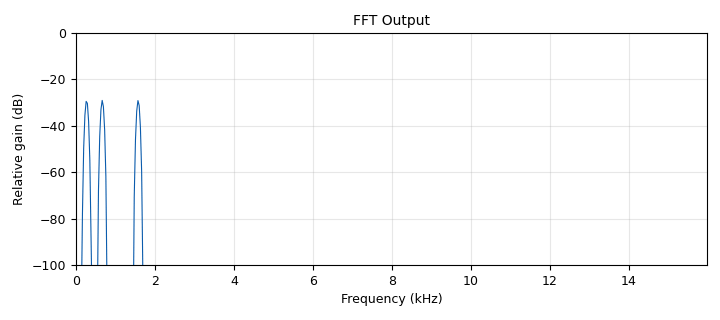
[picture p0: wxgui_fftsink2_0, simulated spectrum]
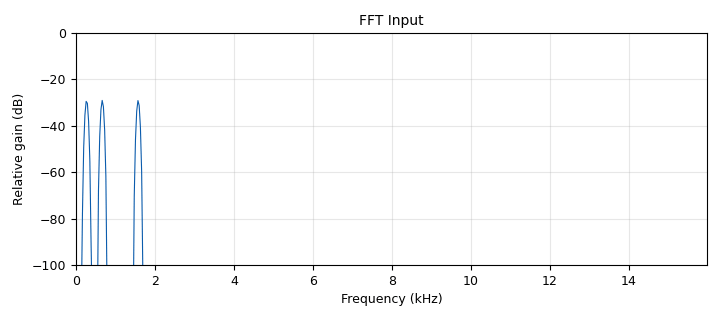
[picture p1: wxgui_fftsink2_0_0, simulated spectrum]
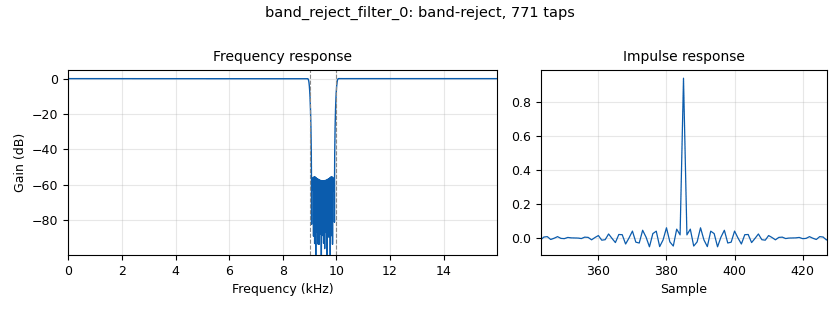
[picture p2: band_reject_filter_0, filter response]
<?xml version='1.0' encoding='utf-8'?>
<?grc format='1' created='3.7.11'?>
<flow_graph>
<block>
<key>options</key>
<param><key>id</key><value>top_block</value></param>
<param><key>generate_options</key><value>wx_gui</value></param>
</block>
<block>
<key>variable_text_box</key>
<param><key>id</key><value>freq</value></param>
<param><key>converver</key><value>float_converter</value></param>
<param><key>value</key><value>500</value></param>
<param><key>formatter</key><value>None</value></param>
<param><key>label</key><value></value></param>
</block>
<block>
<key>variable_text_box</key>
<param><key>id</key><value>high_cutoff</value></param>
<param><key>converver</key><value>float_converter</value></param>
<param><key>value</key><value>10e3</value></param>
<param><key>formatter</key><value>None</value></param>
<param><key>label</key><value></value></param>
</block>
<block>
<key>variable_text_box</key>
<param><key>id</key><value>low_cutoff</value></param>
<param><key>converver</key><value>float_converter</value></param>
<param><key>value</key><value>9e3</value></param>
<param><key>formatter</key><value>None</value></param>
<param><key>label</key><value></value></param>
</block>
<block>
<key>variable</key>
<param><key>id</key><value>samp_rate</value></param>
<param><key>value</key><value>32000</value></param>
</block>
<block>
<key>variable_text_box</key>
<param><key>id</key><value>transition_width</value></param>
<param><key>converver</key><value>float_converter</value></param>
<param><key>value</key><value>100</value></param>
<param><key>formatter</key><value>None</value></param>
<param><key>label</key><value></value></param>
</block>
<block>
<key>analog_sig_source_x</key>
<param><key>id</key><value>analog_sig_source_x_0_1</value></param>
<param><key>amp</key><value>.1</value></param>
<param><key>freq</key><value>261.6</value></param>
<param><key>offset</key><value>0</value></param>
<param><key>type</key><value>float</value></param>
<param><key>samp_rate</key><value>samp_rate</value></param>
<param><key>waveform</key><value>analog.GR_COS_WAVE</value></param>
</block>
<block>
<key>analog_sig_source_x</key>
<param><key>id</key><value>analog_sig_source_x_0_2</value></param>
<param><key>amp</key><value>.1</value></param>
<param><key>freq</key><value>659.2</value></param>
<param><key>offset</key><value>0</value></param>
<param><key>type</key><value>float</value></param>
<param><key>samp_rate</key><value>samp_rate</value></param>
<param><key>waveform</key><value>analog.GR_COS_WAVE</value></param>
</block>
<block>
<key>analog_sig_source_x</key>
<param><key>id</key><value>analog_sig_source_x_0_3</value></param>
<param><key>amp</key><value>.1</value></param>
<param><key>freq</key><value>1568</value></param>
<param><key>offset</key><value>0</value></param>
<param><key>type</key><value>float</value></param>
<param><key>samp_rate</key><value>samp_rate</value></param>
<param><key>waveform</key><value>analog.GR_COS_WAVE</value></param>
</block>
<block>
<key>audio_sink</key>
<param><key>id</key><value>audio_sink_0</value></param>
<param><key>samp_rate</key><value>samp_rate</value></param>
</block>
<block>
<key>band_reject_filter</key>
<param><key>id</key><value>band_reject_filter_0</value></param>
<param><key>decim</key><value>1</value></param>
<param><key>type</key><value>fir_filter_fff</value></param>
<param><key>gain</key><value>1</value></param>
<param><key>high_cutoff_freq</key><value>high_cutoff</value></param>
<param><key>low_cutoff_freq</key><value>low_cutoff</value></param>
<param><key>samp_rate</key><value>samp_rate</value></param>
<param><key>width</key><value>transition_width</value></param>
<param><key>win</key><value>firdes.WIN_HAMMING</value></param>
</block>
<block>
<key>blocks_add_xx</key>
<param><key>id</key><value>blocks_add_xx_0</value></param>
<param><key>type</key><value>float</value></param>
<param><key>num_inputs</key><value>3</value></param>
</block>
<block>
<key>wxgui_fftsink2</key>
<param><key>id</key><value>wxgui_fftsink2_0</value></param>
<param><key>avg_alpha</key><value>0</value></param>
<param><key>average</key><value>False</value></param>
<param><key>baseband_freq</key><value>0</value></param>
<param><key>fft_size</key><value>1024</value></param>
<param><key>freqvar</key><value>None</value></param>
<param><key>peak_hold</key><value>False</value></param>
<param><key>ref_level</key><value>0</value></param>
<param><key>ref_scale</key><value>2.0</value></param>
<param><key>fft_rate</key><value>15</value></param>
<param><key>samp_rate</key><value>samp_rate</value></param>
<param><key>title</key><value>FFT Output</value></param>
<param><key>type</key><value>float</value></param>
<param><key>win</key><value>None</value></param>
<param><key>y_divs</key><value>10</value></param>
<param><key>y_per_div</key><value>10</value></param>
</block>
<block>
<key>wxgui_fftsink2</key>
<param><key>id</key><value>wxgui_fftsink2_0_0</value></param>
<param><key>avg_alpha</key><value>0</value></param>
<param><key>average</key><value>False</value></param>
<param><key>baseband_freq</key><value>0</value></param>
<param><key>fft_size</key><value>1024</value></param>
<param><key>freqvar</key><value>None</value></param>
<param><key>peak_hold</key><value>False</value></param>
<param><key>ref_level</key><value>0</value></param>
<param><key>ref_scale</key><value>2.0</value></param>
<param><key>fft_rate</key><value>15</value></param>
<param><key>samp_rate</key><value>samp_rate</value></param>
<param><key>title</key><value>FFT Input</value></param>
<param><key>type</key><value>float</value></param>
<param><key>win</key><value>None</value></param>
<param><key>y_divs</key><value>10</value></param>
<param><key>y_per_div</key><value>10</value></param>
</block>
<block>
<key>wxgui_scopesink2</key>
<param><key>id</key><value>wxgui_scopesink2_0</value></param>
<param><key>ac_couple</key><value>False</value></param>
<param><key>_enabled</key><value>0</value></param>
<param><key>num_inputs</key><value>1</value></param>
<param><key>samp_rate</key><value>samp_rate</value></param>
<param><key>t_scale</key><value>0</value></param>
<param><key>title</key><value>Scope Plot</value></param>
<param><key>trig_mode</key><value>wxgui.TRIG_MODE_AUTO</value></param>
<param><key>type</key><value>float</value></param>
<param><key>v_offset</key><value>0</value></param>
<param><key>v_scale</key><value>0</value></param>
<param><key>xy_mode</key><value>False</value></param>
<param><key>y_axis_label</key><value>Counts</value></param>
</block>
<connection><source_block_id>analog_sig_source_x_0_1</source_block_id><sink_block_id>blocks_add_xx_0</sink_block_id><source_key>0</source_key><sink_key>0</sink_key></connection>
<connection><source_block_id>analog_sig_source_x_0_2</source_block_id><sink_block_id>blocks_add_xx_0</sink_block_id><source_key>0</source_key><sink_key>1</sink_key></connection>
<connection><source_block_id>analog_sig_source_x_0_3</source_block_id><sink_block_id>blocks_add_xx_0</sink_block_id><source_key>0</source_key><sink_key>2</sink_key></connection>
<connection><source_block_id>band_reject_filter_0</source_block_id><sink_block_id>audio_sink_0</sink_block_id><source_key>0</source_key><sink_key>0</sink_key></connection>
<connection><source_block_id>band_reject_filter_0</source_block_id><sink_block_id>wxgui_fftsink2_0</sink_block_id><source_key>0</source_key><sink_key>0</sink_key></connection>
<connection><source_block_id>band_reject_filter_0</source_block_id><sink_block_id>wxgui_scopesink2_0</sink_block_id><source_key>0</source_key><sink_key>0</sink_key></connection>
<connection><source_block_id>blocks_add_xx_0</source_block_id><sink_block_id>band_reject_filter_0</sink_block_id><source_key>0</source_key><sink_key>0</sink_key></connection>
<connection><source_block_id>blocks_add_xx_0</source_block_id><sink_block_id>wxgui_fftsink2_0_0</sink_block_id><source_key>0</source_key><sink_key>0</sink_key></connection>
</flow_graph>
